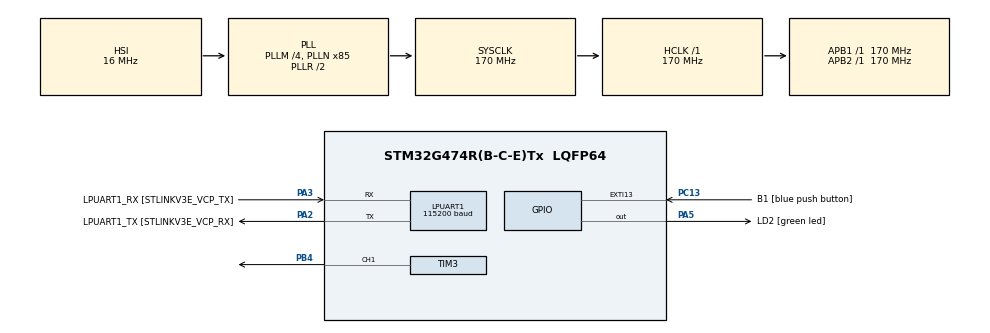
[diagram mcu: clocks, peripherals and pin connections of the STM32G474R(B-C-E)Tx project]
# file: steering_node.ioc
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Dma.LPUART1_RX.0.Direction=DMA_PERIPH_TO_MEMORY
Dma.LPUART1_RX.0.EventEnable=DISABLE
Dma.LPUART1_RX.0.Instance=DMA1_Channel1
Dma.LPUART1_RX.0.MemDataAlignment=DMA_MDATAALIGN_BYTE
Dma.LPUART1_RX.0.MemInc=DMA_MINC_ENABLE
Dma.LPUART1_RX.0.Mode=DMA_CIRCULAR
Dma.LPUART1_RX.0.PeriphDataAlignment=DMA_PDATAALIGN_BYTE
Dma.LPUART1_RX.0.PeriphInc=DMA_PINC_DISABLE
Dma.LPUART1_RX.0.Polarity=HAL_DMAMUX_REQ_GEN_RISING
Dma.LPUART1_RX.0.Priority=DMA_PRIORITY_VERY_HIGH
Dma.LPUART1_RX.0.RequestNumber=1
Dma.LPUART1_RX.0.SignalID=NONE
Dma.LPUART1_RX.0.SyncEnable=DISABLE
Dma.LPUART1_RX.0.SyncPolarity=HAL_DMAMUX_SYNC_NO_EVENT
Dma.LPUART1_RX.0.SyncRequestNumber=1
Dma.LPUART1_RX.0.SyncSignalID=NONE
Dma.LPUART1_TX.1.Direction=DMA_MEMORY_TO_PERIPH
Dma.LPUART1_TX.1.EventEnable=DISABLE
Dma.LPUART1_TX.1.Instance=DMA1_Channel2
Dma.LPUART1_TX.1.MemDataAlignment=DMA_MDATAALIGN_BYTE
Dma.LPUART1_TX.1.MemInc=DMA_MINC_ENABLE
Dma.LPUART1_TX.1.Mode=DMA_NORMAL
Dma.LPUART1_TX.1.PeriphDataAlignment=DMA_PDATAALIGN_BYTE
Dma.LPUART1_TX.1.PeriphInc=DMA_PINC_DISABLE
Dma.LPUART1_TX.1.Polarity=HAL_DMAMUX_REQ_GEN_RISING
Dma.LPUART1_TX.1.Priority=DMA_PRIORITY_VERY_HIGH
Dma.LPUART1_TX.1.RequestNumber=1
Dma.LPUART1_TX.1.SignalID=NONE
Dma.LPUART1_TX.1.SyncEnable=DISABLE
Dma.LPUART1_TX.1.SyncPolarity=HAL_DMAMUX_SYNC_NO_EVENT
Dma.LPUART1_TX.1.SyncRequestNumber=1
Dma.LPUART1_TX.1.SyncSignalID=NONE
Dma.Request0=LPUART1_RX
Dma.Request1=LPUART1_TX
FREERTOS.Tasks01=defaultTask,24,3000,StartDefaultTask,Default,NULL,Static,defaultTaskBuffer,defaultTaskControlBlock
IWDG.Reload=2499
LPUART1.BaudRate=115200
Mcu.Family=STM32G4
Mcu.Name=STM32G474R(B-C-E)Tx
Mcu.Package=LQFP64
NVIC.DMA1_Channel1_IRQn=true\:5\:0\:false\:false\:true\:true\:false\:true\:true
NVIC.DMA1_Channel2_IRQn=true\:5\:0\:false\:false\:true\:true\:false\:true\:true
NVIC.EXTI15_10_IRQn=true\:5\:0\:false\:false\:true\:true\:true\:true\:true
NVIC.LPUART1_IRQn=true\:5\:0\:false\:false\:true\:true\:true\:true\:true
NVIC.PriorityGroup=NVIC_PRIORITYGROUP_4
NVIC.TIM1_UP_TIM16_IRQn=true\:15\:0\:false\:false\:true\:false\:false\:true\:true
NVIC.TIM2_IRQn=true\:5\:0\:false\:false\:true\:true\:true\:true\:true
NVIC.TimeBase=TIM1_UP_TIM16_IRQn
NVIC.TimeBaseIP=TIM1
PA13.GPIO_Label=T_SWDIO
PA13.Signal=SYS_JTMS-SWDIO
PA14.GPIO_Label=T_SWCLK
PA14.Signal=SYS_JTCK-SWCLK
PA2.GPIO_Label=LPUART1_TX [STLINKV3E_VCP_RX]
PA2.Mode=Asynchronous
PA2.Signal=LPUART1_TX
PA3.GPIO_Label=LPUART1_RX [STLINKV3E_VCP_TX]
PA3.Mode=Asynchronous
PA3.Signal=LPUART1_RX
PA5.GPIO_Label=LD2 [green led]
PA5.Signal=GPIO_Output
PB3.GPIO_Label=T_SWO
PB3.Signal=SYS_JTDO-SWO
PB4.Signal=S_TIM3_CH1
PC13.GPIO_Label=B1 [blue push button]
PC13.Signal=GPXTI13
PC14-OSC32_IN.GPIO_Label=RCC_OSC32_IN
PC14-OSC32_IN.Signal=RCC_OSC32_IN
PC15-OSC32_OUT.GPIO_Label=RCC_OSC32_OUT
PC15-OSC32_OUT.Signal=RCC_OSC32_OUT
PF0-OSC_IN.GPIO_Label=RCC_OSC_IN
PF0-OSC_IN.Mode=HSE-External-Oscillator
PF0-OSC_IN.Signal=RCC_OSC_IN
PF1-OSC_OUT.GPIO_Label=RCC_OSC_OUT
PF1-OSC_OUT.Mode=HSE-External-Oscillator
PF1-OSC_OUT.Signal=RCC_OSC_OUT
ProjectManager.HeapSize=0x200
ProjectManager.StackSize=0x400
ProjectManager.TargetToolchain=STM32CubeIDE
RCC.ADC12Freq_Value=170000000
RCC.ADC345Freq_Value=170000000
RCC.AHBFreq_Value=170000000
RCC.APB1Freq_Value=170000000
RCC.APB1TimFreq_Value=170000000
RCC.APB2Freq_Value=170000000
RCC.APB2TimFreq_Value=170000000
RCC.CortexFreq_Value=170000000
RCC.EXTERNAL_CLOCK_VALUE=12288000
RCC.HCLKFreq_Value=170000000
RCC.HSE_VALUE=24000000
RCC.HSI48_VALUE=48000000
RCC.HSI_VALUE=16000000
RCC.LSE_VALUE=32768
RCC.PLLM=RCC_PLLM_DIV4
RCC.PLLN=85
RCC.RTCClockSelection=RCC_RTCCLKSOURCE_LSE
RCC.SYSCLKFreq_VALUE=170000000
RCC.SYSCLKSource=RCC_SYSCLKSOURCE_PLLCLK
RCC.USBFreq_Value=170000000
RCC.VCOOutputFreq_Value=340000000
SH.S_TIM3_CH1.0=TIM3_CH1,PWM Generation1 CH1
TIM2.PeriodNoDither=999
TIM2.Prescaler=169
TIM3.Channel-PWM\ Generation1\ CH1=TIM_CHANNEL_1
TIM3.PeriodNoDither=19999
TIM3.Prescaler=169
TIM3.PulseNoDither_1=2000
VP_FREERTOS_VS_CMSIS_V2.Mode=CMSIS_V2
VP_IWDG_VS_IWDG.Mode=IWDG_Activate
VP_SYS_VS_DBSignals.Mode=DisableDeadBatterySignals
VP_SYS_VS_tim1.Mode=TIM1
VP_TIM2_VS_ClockSourceINT.Mode=Internal
VP_TIM3_VS_ClockSourceINT.Mode=Internal
board=NUCLEO-G474RE

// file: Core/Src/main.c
/* USER CODE BEGIN Header */
/**
 ******************************************************************************
 * @file           : main.c
 * @brief          : Main program body
 ******************************************************************************
 * @attention
 *
 * Copyright (c) 2026 STMicroelectronics.
 * All rights reserved.
 *
 * This software is licensed under terms that can be found in the LICENSE file
 * in the root directory of this software component.
 * If no LICENSE file comes with this software, it is provided AS-IS.
 *
 ******************************************************************************
 */
/* USER CODE END Header */
#include "main.h"
#include "cmsis_os.h"
#include "dma.h"
#include "iwdg.h"
#include "usart.h"
#include "tim.h"
#include "gpio.h"

void SystemClock_Config(void);
void MX_FREERTOS_Init(void);

int main(void)
{

  /* MCU Configuration--------------------------------------------------------*/

  /* Reset of all peripherals, Initializes the Flash interface and the Systick. */
  HAL_Init();

  /* Configure the system clock */
  SystemClock_Config();

  /* Initialize all configured peripherals */
  MX_GPIO_Init();
  MX_DMA_Init();
  MX_LPUART1_UART_Init();
  MX_TIM2_Init();
  MX_TIM3_Init();
  MX_IWDG_Init();

  /* Init scheduler */
  osKernelInitialize();  /* Call init function for freertos objects (in cmsis_os2.c) */
  MX_FREERTOS_Init();

  /* Start scheduler */
  osKernelStart();

  /* We should never get here as control is now taken by the scheduler */

  /* Infinite loop */
	while (1) {

	}
}

void SystemClock_Config(void)
{
  RCC_OscInitTypeDef RCC_OscInitStruct = {0};
  RCC_ClkInitTypeDef RCC_ClkInitStruct = {0};

  /** Configure the main internal regulator output voltage
  */
  HAL_PWREx_ControlVoltageScaling(PWR_REGULATOR_VOLTAGE_SCALE1_BOOST);

  /** Initializes the RCC Oscillators according to the specified parameters
  * in the RCC_OscInitTypeDef structure.
  */
  RCC_OscInitStruct.OscillatorType = RCC_OSCILLATORTYPE_HSI|RCC_OSCILLATORTYPE_LSI;
  RCC_OscInitStruct.HSIState = RCC_HSI_ON;
  RCC_OscInitStruct.HSICalibrationValue = RCC_HSICALIBRATION_DEFAULT;
  RCC_OscInitStruct.LSIState = RCC_LSI_ON;
  RCC_OscInitStruct.PLL.PLLState = RCC_PLL_ON;
  RCC_OscInitStruct.PLL.PLLSource = RCC_PLLSOURCE_HSI;
  RCC_OscInitStruct.PLL.PLLM = RCC_PLLM_DIV4;
  RCC_OscInitStruct.PLL.PLLN = 85;
  RCC_OscInitStruct.PLL.PLLP = RCC_PLLP_DIV2;
  RCC_OscInitStruct.PLL.PLLQ = RCC_PLLQ_DIV2;
  RCC_OscInitStruct.PLL.PLLR = RCC_PLLR_DIV2;
  if (HAL_RCC_OscConfig(&RCC_OscInitStruct) != HAL_OK)
  {
    Error_Handler();
  }

  /** Initializes the CPU, AHB and APB buses clocks
  */
  RCC_ClkInitStruct.ClockType = RCC_CLOCKTYPE_HCLK|RCC_CLOCKTYPE_SYSCLK
                              |RCC_CLOCKTYPE_PCLK1|RCC_CLOCKTYPE_PCLK2;
  RCC_ClkInitStruct.SYSCLKSource = RCC_SYSCLKSOURCE_PLLCLK;
  RCC_ClkInitStruct.AHBCLKDivider = RCC_SYSCLK_DIV1;
  RCC_ClkInitStruct.APB1CLKDivider = RCC_HCLK_DIV1;
  RCC_ClkInitStruct.APB2CLKDivider = RCC_HCLK_DIV1;

  if (HAL_RCC_ClockConfig(&RCC_ClkInitStruct, FLASH_LATENCY_4) != HAL_OK)
  {
    Error_Handler();
  }
}

__weak void HAL_TIM_PeriodElapsedCallback(TIM_HandleTypeDef *htim)
{
  if (htim->Instance == TIM1)
  {
    HAL_IncTick();
  }
}

void Error_Handler(void)
{
	__disable_irq();
	while (1) {
	}
}

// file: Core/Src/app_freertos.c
/* USER CODE BEGIN Header */
/**
 ******************************************************************************
 * File Name          : app_freertos.c
 * Description        : Code for freertos applications
 ******************************************************************************
 * @attention
 *
 * Copyright (c) 2026 STMicroelectronics.
 * All rights reserved.
 *
 * This software is licensed under terms that can be found in the LICENSE file
 * in the root directory of this software component.
 * If no LICENSE file comes with this software, it is provided AS-IS.
 *
 ******************************************************************************
 */
/* USER CODE END Header */

#include "FreeRTOS.h"
#include "task.h"
#include "main.h"
#include "cmsis_os.h"

/* USER CODE BEGIN Includes */
#include <rcl/rcl.h>
#include <rcl/error_handling.h>
#include <rclc/rclc.h>
#include <rclc/executor.h>
#include <uxr/client/transport.h>
#include <rmw_microxrcedds_c/config.h>
#include <rmw_microros/rmw_microros.h>

#include <std_msgs/msg/float32.h>

#include "dma.h"
#include "iwdg.h"
#include "usart.h"
#include "tim.h"
#include "gpio.h"

#include "PWM.h"
/* USER CODE END Includes */

typedef StaticTask_t osStaticThreadDef_t;

/* USER CODE BEGIN PM */
#define RCLSOFTCHECK(fn) if (fn!= RCL_RET_OK){};
/* USER CODE END PM */

/* USER CODE BEGIN Variables */
rcl_node_t node;
rclc_support_t support;
rcl_allocator_t allocator;
rcl_init_options_t init_options;
rclc_executor_t executor;

rcl_publisher_t publisher;
rcl_subscription_t subscriber;

std_msgs__msg__Float32 pub_msg;
std_msgs__msg__Float32 sub_msg;

rcl_timer_t timer;
const unsigned int timer_period = RCL_MS_TO_NS(10);
const int timeout_ms = 1000;

PWM servo;

float duty = 7.25f;
float duty_prev = -1.0f;
/* USER CODE END Variables */
/* Definitions for defaultTask */
osThreadId_t defaultTaskHandle;
uint32_t defaultTaskBuffer[3000];
osStaticThreadDef_t defaultTaskControlBlock;
const osThreadAttr_t defaultTask_attributes = { .name = "defaultTask",
		.stack_mem = &defaultTaskBuffer[0], .stack_size =
				sizeof(defaultTaskBuffer), .cb_mem = &defaultTaskControlBlock,
		.cb_size = sizeof(defaultTaskControlBlock), .priority =
				(osPriority_t) osPriorityNormal, };

/* USER CODE BEGIN FunctionPrototypes */
bool cubemx_transport_open(struct uxrCustomTransport *transport);
bool cubemx_transport_close(struct uxrCustomTransport *transport);
size_t cubemx_transport_write(struct uxrCustomTransport *transport,
		const uint8_t *buf, size_t len, uint8_t *err);
size_t cubemx_transport_read(struct uxrCustomTransport *transport, uint8_t *buf,
		size_t len, int timeout, uint8_t *err);

void* microros_allocate(size_t size, void *state);
void microros_deallocate(void *pointer, void *state);
void* microros_reallocate(void *pointer, size_t size, void *state);
void* microros_zero_allocate(size_t number_of_elements, size_t size_of_element,
		void *state);

void timer_callback(rcl_timer_t *timer, int64_t last_call_time);
void subscription_callback(const void *msgin);
/* USER CODE END FunctionPrototypes */

void StartDefaultTask(void *argument);

void MX_FREERTOS_Init(void); /* (MISRA C 2004 rule 8.1) */

void MX_FREERTOS_Init(void) {
	/* USER CODE BEGIN Init */
	PWM_init(&servo, &htim3, TIM_CHANNEL_1);
	HAL_TIM_Base_Start_IT(&htim2);
	/* USER CODE END Init */

	/* Create the thread(s) */
	/* creation of defaultTask */
	defaultTaskHandle = osThreadNew(StartDefaultTask, NULL,
			&defaultTask_attributes);

}

void StartDefaultTask(void *argument) {
	/* USER CODE BEGIN StartDefaultTask */
	// micro-ROS configuration
	rmw_uros_set_custom_transport(true, (void*) &hlpuart1,
			cubemx_transport_open, cubemx_transport_close,
			cubemx_transport_write, cubemx_transport_read);

	rcl_allocator_t freeRTOS_allocator =
			rcutils_get_zero_initialized_allocator();
	freeRTOS_allocator.allocate = microros_allocate;
	freeRTOS_allocator.deallocate = microros_deallocate;
	freeRTOS_allocator.reallocate = microros_reallocate;
	freeRTOS_allocator.zero_allocate = microros_zero_allocate;

	if (!rcutils_set_default_allocator(&freeRTOS_allocator)) {
		printf("Error on default allocators (line %d)\n", __LINE__);
	}
	allocator = rcl_get_default_allocator();

	//create init
	init_options = rcl_get_zero_initialized_init_options();
	RCLSOFTCHECK(rcl_init_options_init(&init_options, allocator));
	RCLSOFTCHECK(rcl_init_options_set_domain_id(&init_options, 127));

	//create support
	rclc_support_init_with_options(&support, 0, NULL, &init_options,
			&allocator);

	// create node
	rclc_node_init_default(&node, "steering_node", "", &support);

	// Create publisher
	rclc_publisher_init_default(&publisher, &node,
			ROSIDL_GET_MSG_TYPE_SUPPORT(std_msgs, msg, Float32),
			"uros_heartbeat");

	// Create subscriber
	rclc_subscription_init_default(&subscriber, &node,
			ROSIDL_GET_MSG_TYPE_SUPPORT(std_msgs, msg, Float32),
			"steering_angle");

	//create timer
	rclc_timer_init_default(&timer, &support, timer_period, timer_callback);

	//create executor
	executor = rclc_executor_get_zero_initialized_executor();
	rclc_executor_init(&executor, &support.context, 2, &allocator); // total number of handles = #subscriptions + #timers + #clients + #service (Should not handle too much)
	rclc_executor_add_timer(&executor, &timer);
	rclc_executor_add_subscription(&executor, &subscriber, &sub_msg,
			&subscription_callback, ON_NEW_DATA);
	rclc_executor_spin(&executor);

	/* Infinite loop */
	for (;;) {

		osDelay(1);
	}
	/* USER CODE END StartDefaultTask */
}

/* USER CODE BEGIN Application */
void timer_callback(rcl_timer_t *timer, int64_t last_call_time) {
	static uint8_t cnt = 0;

	if (timer != NULL) {
		// Sync micro-ROS session
		rmw_uros_sync_session(timeout_ms);

		// Toggle LED every 50 cycles (approximately every 0.5 seconds)
		if (cnt == 0)
			HAL_GPIO_TogglePin(LD2_GPIO_Port, LD2_Pin);
		cnt = (cnt + 1) % 50;

		pub_msg.data = 1.0;
		// Publish the multi-array message
		RCLSOFTCHECK(rcl_publish(&publisher, &pub_msg, NULL));

		// Reinitialize watchdog timer
		HAL_IWDG_Init(&hiwdg);
	}
}

void subscription_callback(const void *msgin) {
	const std_msgs__msg__Float32 *float32_msg =
			(const std_msgs__msg__Float32*) msgin;

	//min 2.5 max 12.0 mid 7.25 (Servo)
	//min 5.5 max 9.0 mid 7.25
	duty = (float32_msg->data +0.4f) * ((9.7f - 5.5f) / 0.8f) + 5.5f;
}

void HAL_TIM_PeriodElapsedCallback(TIM_HandleTypeDef *htim) {
	/* USER CODE BEGIN Callback 0 */

	/* USER CODE END Callback 0 */
	if (htim->Instance == TIM1) {
		HAL_IncTick();
	}
	/* USER CODE BEGIN Callback 1 */
	if (htim->Instance == TIM2) {
		if (duty != duty_prev) {
			PWM_write_duty(&servo, 50, duty);
			duty_prev = duty;
		}
	}
	/* USER CODE END Callback 1 */
}
/* USER CODE END Application */
